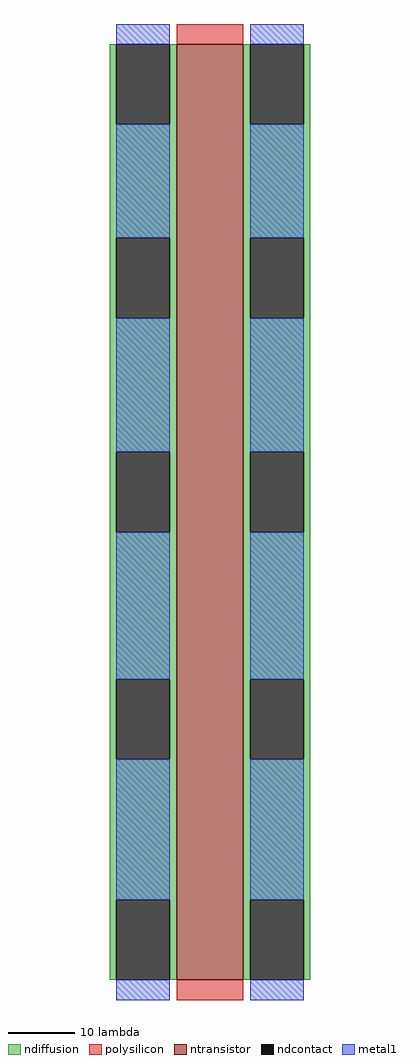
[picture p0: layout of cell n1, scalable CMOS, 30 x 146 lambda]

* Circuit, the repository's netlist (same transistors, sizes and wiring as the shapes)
* SPICE3 file created from n1.ext - technology: scmos

.option scale=0.1u

M1000 a_19_0# a_9_n3# a_n1_0# w_n1073741817_n1073741817# nfet w=140 l=10
+  ad=1400 pd=300 as=1400 ps=300

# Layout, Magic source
magic
tech scmos
<< ntransistor >>
rect 9 0 19 140
<< ndiffusion >>
rect -1 128 0 140
rect 8 128 9 140
rect -1 111 9 128
rect -1 99 0 111
rect 8 99 9 111
rect -1 79 9 99
rect -1 67 0 79
rect 8 67 9 79
rect -1 45 9 67
rect -1 33 0 45
rect 8 33 9 45
rect -1 12 9 33
rect -1 0 0 12
rect 8 0 9 12
rect 19 128 20 140
rect 28 128 29 140
rect 19 111 29 128
rect 19 99 20 111
rect 28 99 29 111
rect 19 79 29 99
rect 19 67 20 79
rect 28 67 29 79
rect 19 45 29 67
rect 19 33 20 45
rect 28 33 29 45
rect 19 12 29 33
rect 19 0 20 12
rect 28 0 29 12
<< ndcontact >>
rect 0 128 8 140
rect 0 99 8 111
rect 0 67 8 79
rect 0 33 8 45
rect 0 0 8 12
rect 20 128 28 140
rect 20 99 28 111
rect 20 67 28 79
rect 20 33 28 45
rect 20 0 28 12
<< polysilicon >>
rect 9 140 19 143
rect 9 -3 19 0
<< metal1 >>
rect 0 140 8 143
rect 0 111 8 128
rect 0 79 8 99
rect 0 45 8 67
rect 0 12 8 33
rect 0 -3 8 0
rect 20 140 28 143
rect 20 111 28 128
rect 20 79 28 99
rect 20 45 28 67
rect 20 12 28 33
rect 20 -3 28 0
<< end >>
